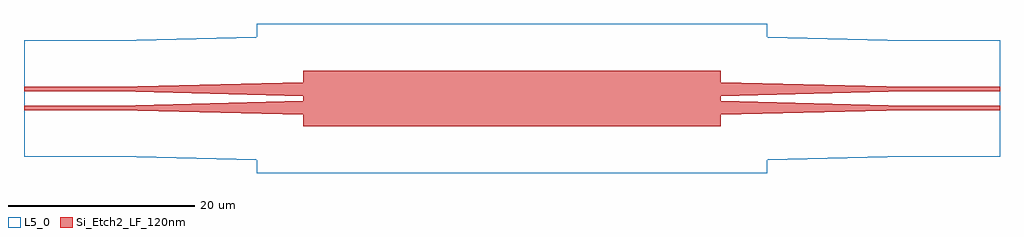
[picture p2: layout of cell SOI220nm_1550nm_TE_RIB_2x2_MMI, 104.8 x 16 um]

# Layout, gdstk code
import gdstk
lib = gdstk.Library(unit=1e-6, precision=1e-09)
def R(c, l, rs):  # rectangles x0, y0, x1, y1
    for r in rs: c.add(gdstk.rectangle(r[:2], r[2:], *l))
def P(c, l, *ps):  # polygons
    for p in ps: c.add(gdstk.Polygon(p, *l))
Si_Etch2_LF_120nm = (3, 0)
L5_0 = (5, 0)

soi220nm_1550nm_te_rib_2 = lib.new_cell('SOI220nm_1550nm_TE_RIB_2x2_MMI')
R(soi220nm_1550nm_te_rib_2, Si_Etch2_LF_120nm, [(-22.4,-3,22.4,3), (-52.4,-1.24,-42.4,-0.79), (42.4,-1.24,52.4,-0.79), (-52.4,0.79,-42.4,1.24), (42.4,0.79,52.4,1.24)])
P(soi220nm_1550nm_te_rib_2, Si_Etch2_LF_120nm, [(-22.4,0.265),(-42.4,0.79),(-42.4,1.24),(-22.4,1.765)],
  [(-22.4,-1.765),(-42.4,-1.24),(-42.4,-0.79),(-22.4,-0.265)],
  [(22.4,0.265),(22.4,1.765),(42.4,1.24),(42.4,0.79)],
  [(22.4,-1.765),(22.4,-0.265),(42.4,-0.79),(42.4,-1.24)])
P(soi220nm_1550nm_te_rib_2, L5_0, [(-27.4,-8),(-27.4,-6.635),(-42.455,-6.24),(-52.4,-6.24),(-52.4,6.24),(-42.455,6.24),(-27.4,6.635),(-27.4,8),(27.4,8),(27.4,6.635),(42.455,6.24),(52.4,6.24),(52.4,-6.24),(42.455,-6.24),(27.4,-6.635),(27.4,-8)])

lib.write_gds('SOI220nm_1550nm_TE_RIB_2x2_MMI.gds')
